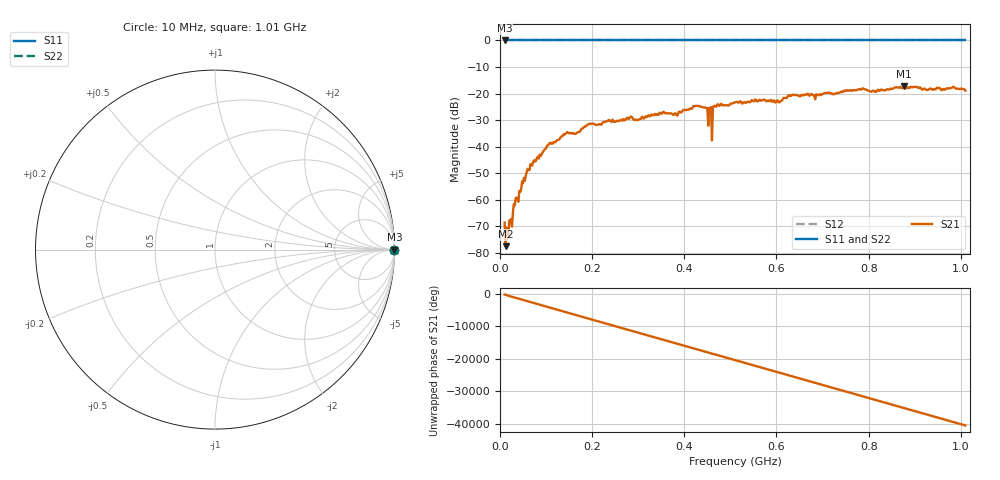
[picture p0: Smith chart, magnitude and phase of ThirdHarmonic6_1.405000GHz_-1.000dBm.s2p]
! 8/16/2025 4:05:07 PM
! C:\ANRITSUVNA\TEMP\TEMP.S2P
! CHANNEL.1
! TR.MEASUREMENT
! RAW.DATA
! RF.CORRECTION.OFF
! AVERAGING.OFF
! IF.BANDWIDTH: 5KHZ
! SWEEPTYPE:  FREQ.SWEEP(Linear)
! Reference Plane Port Info
! PORT:  PORT1  PORT2
! DISTANCE:  0  m  0  m
! TIME:  0  s  0  s
! PHASE.OFFSET:  0  deg.  0  deg.
! LOSS:  0  dB  0  dB
! REF.LOSS:  0  dB  0  dB
! REF.FREQ:  0  Hz  0  Hz
! Power Info
! POWER:  -20  dBm  -20  dBm
! EFF.POWER:  -20  dBm  -20  dBm
! SOURCE.ATTEN:  0  dB  0  dB
! TEST.ATTEN:  0  dB  0  dB
# GHZ S RI R 50.0
! FREQ.GHZ  S11RE  S11IM  S21RE  S21IM  S12RE  S12IM  S22RE  S22IM
!; PortSelection: Port_12
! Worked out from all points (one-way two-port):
!   501 points, 10 MHz to 1.01 GHz, reference 50 ohm
!   highest |S21| = -17.28 dB at 876 MHz (marker M1); lowest = -77.5 dB at 12 MHz (marker M2)
!   lowest |S11| = 0.0 dB at 10 MHz (marker M3)
!   |S11| at or under -10 dB: nowhere
!   |S22| runs from 0.0 to 0.0 dB; largest |S21 - S12| = 1.1
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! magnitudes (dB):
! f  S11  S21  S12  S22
! 10 MHz  0.0  -68.6  0.0  0.0
! 12 MHz  0.0  -77.5  0.0  0.0
! 16 MHz  0.0  -74.7  0.0  0.0
! 34 MHz  0.0  -59.4  0.0  0.0
! 70 MHz  0.0  -47.1  0.0  0.0
! 106 MHz  0.0  -39.2  0.0  0.0
! 178 MHz  0.0  -33.2  0.0  0.0
! 344 MHz  0.0  -28.0  0.0  0.0
! 382 MHz  0.0  -27.7  0.0  0.0
! 430 MHz  0.0  -24.7  0.0  0.0
! 446 MHz  0.0  -25.3  0.0  0.0
! 454 MHz  0.0  -25.4  0.0  0.0
! 456 MHz  0.0  -25.5  0.0  0.0
! 464 MHz  0.0  -24.8  0.0  0.0
! 466 MHz  0.0  -24.6  0.0  0.0
! 510 MHz  0.0  -23.4  0.0  0.0
! 602 MHz  0.0  -22.5  0.0  0.0
! 630 MHz  0.0  -20.9  0.0  0.0
! 678 MHz  0.0  -20.4  0.0  0.0
! 844 MHz  0.0  -18.5  0.0  0.0
! 876 MHz  0.0  -17.3  0.0  0.0
! 1.01 GHz  0.0  -18.9  0.0  0.0
